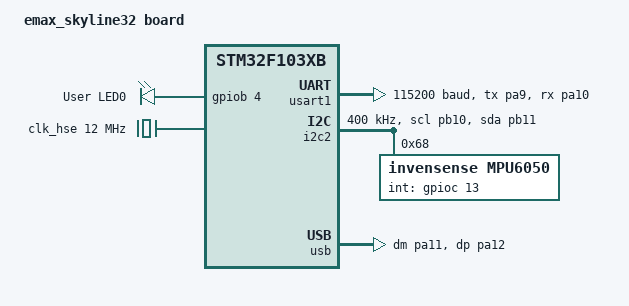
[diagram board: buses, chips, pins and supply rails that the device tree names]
/*
 * Copyright (c) 2022 Kevin Dominic Merkel
 *
 * SPDX-License-Identifier: Apache-2.0
 */

/dts-v1/;
#include <st/f1/stm32f103Xb.dtsi>
#include <st/f1/stm32f103c(8-b)tx-pinctrl.dtsi>

/ {
	model = "emax_skyline32 board";
	compatible = "emax,skyline32";

	chosen {
		zephyr,console = &usart1;
		zephyr,shell-uart = &usart1;
		zephyr,sram = &sram0;
		zephyr,flash = &flash0;
	};

	leds {
		compatible = "gpio-leds";
		led0: led_0 {
			gpios = <&gpiob 4 GPIO_ACTIVE_HIGH>;
			label = "User LED0";
		};
	};

	aliases {
		userled0 = &led0;
		debuguart = &usart1;
	};
};

&clk_hse {
	clock-frequency = <DT_FREQ_M(12)>;
	status = "okay";
};

&pll {
	mul = <6>;
	clocks = <&clk_hse>;
	status = "okay";
};

&rcc {
	clocks = <&pll>;
	clock-frequency = <DT_FREQ_M(72)>;
	ahb-prescaler = <1>;
	apb1-prescaler = <2>;
	apb2-prescaler = <1>;
};

&usart1 {
	pinctrl-0 = <&usart1_tx_pa9 &usart1_rx_pa10 >;
	pinctrl-names = "default";
	current-speed = <115200>;
	status = "okay";
};


&usart2 {
	pinctrl-0 = <&usart2_tx_pa2 &usart2_rx_pa3>;
	pinctrl-names = "default";
	current-speed = <115200>;
	status = "disabled";
};

&usart3 {
	pinctrl-0 = <&usart3_tx_pb10 &usart3_rx_pb11>;
	pinctrl-names = "default";
	current-speed = <115200>;
	status = "disabled";
};

&i2c1 {
	pinctrl-0 = < &i2c1_scl_pb8 &i2c1_sda_pb9 >;
	//pinctrl-0 = < &i2c1_scl_pb6 &i2c1_sda_pb7 >;
	status = "disabled";
	pinctrl-names = "default";
	clock-frequency = <I2C_BITRATE_FAST>;


};

&i2c2 {
	pinctrl-0 = < &i2c2_scl_pb10 &i2c2_sda_pb11 >;
	status = "okay";
	pinctrl-names = "default";
	clock-frequency = <I2C_BITRATE_FAST>;

	imu: mpu6050@68 {
		compatible = "invensense,mpu6050";
		reg = <0x68>;
		status = "okay";
		label = "MPU6050";
		int-gpios = <&gpioc 13 GPIO_ACTIVE_HIGH>;
	};
};

&usb {
	pinctrl-0 = <&usb_dm_pa11 &usb_dp_pa12>;
	pinctrl-names = "default";
};
